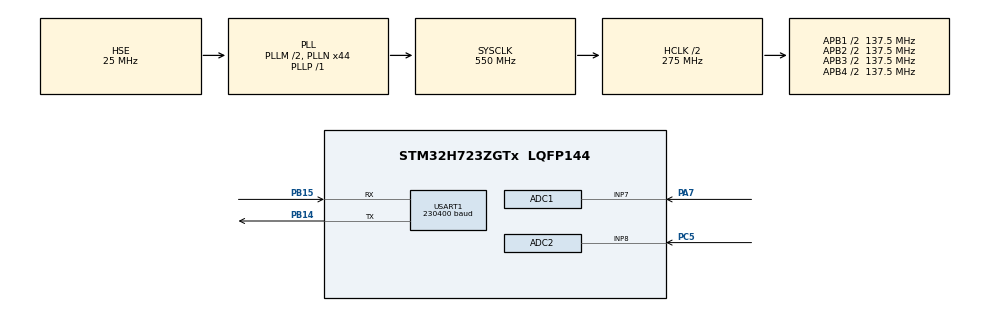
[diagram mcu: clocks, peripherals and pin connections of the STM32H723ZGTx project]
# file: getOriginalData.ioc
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ADC1.Channel-1\#ChannelRegularConversion=ADC_CHANNEL_7
ADC1.ClockPrescaler=ADC_CLOCK_ASYNC_DIV4
ADC1.ConversionDataManagement=ADC_CONVERSIONDATA_DMA_CIRCULAR
ADC1.DMAAccessModeView=ENABLE
ADC1.ExternalTrigConv=ADC_EXTERNALTRIG_T2_TRGO
ADC1.Mode=ADC_DUALMODE_REGSIMULT
ADC1.NbrOfConversion=1
ADC1.NbrOfConversionFlag=1
ADC1.OffsetNumber-1\#ChannelRegularConversion=ADC_OFFSET_NONE
ADC1.OffsetSignedSaturation-1\#ChannelRegularConversion=DISABLE
ADC1.Rank-1\#ChannelRegularConversion=1
ADC1.SamplingTime-1\#ChannelRegularConversion=ADC_SAMPLETIME_64CYCLES_5
ADC1.master=1
ADC2.Channel-0\#ChannelRegularConversion=ADC_CHANNEL_8
ADC2.ClockPrescaler=ADC_CLOCK_ASYNC_DIV4
ADC2.DMAAccessModeView=ENABLE
ADC2.Mode=ADC_DUALMODE_REGSIMULT
ADC2.NbrOfConversionFlag=1
ADC2.OffsetNumber-0\#ChannelRegularConversion=ADC_OFFSET_NONE
ADC2.OffsetSignedSaturation-0\#ChannelRegularConversion=DISABLE
ADC2.Rank-0\#ChannelRegularConversion=1
ADC2.SamplingTime-0\#ChannelRegularConversion=ADC_SAMPLETIME_64CYCLES_5
CORTEX_M7.default_mode_Activation=1
Dma.ADC1.0.Direction=DMA_PERIPH_TO_MEMORY
Dma.ADC1.0.EventEnable=DISABLE
Dma.ADC1.0.FIFOMode=DMA_FIFOMODE_DISABLE
Dma.ADC1.0.Instance=DMA1_Stream0
Dma.ADC1.0.MemDataAlignment=DMA_MDATAALIGN_WORD
Dma.ADC1.0.MemInc=DMA_MINC_ENABLE
Dma.ADC1.0.Mode=DMA_CIRCULAR
Dma.ADC1.0.PeriphDataAlignment=DMA_PDATAALIGN_WORD
Dma.ADC1.0.PeriphInc=DMA_PINC_DISABLE
Dma.ADC1.0.Polarity=HAL_DMAMUX_REQ_GEN_RISING
Dma.ADC1.0.Priority=DMA_PRIORITY_HIGH
Dma.ADC1.0.RequestNumber=1
Dma.ADC1.0.SignalID=NONE
Dma.ADC1.0.SyncEnable=DISABLE
Dma.ADC1.0.SyncPolarity=HAL_DMAMUX_SYNC_NO_EVENT
Dma.ADC1.0.SyncRequestNumber=1
Dma.ADC1.0.SyncSignalID=NONE
Dma.Request0=ADC1
Dma.Request1=USART1_TX
Dma.USART1_TX.1.Direction=DMA_MEMORY_TO_PERIPH
Dma.USART1_TX.1.EventEnable=DISABLE
Dma.USART1_TX.1.FIFOMode=DMA_FIFOMODE_DISABLE
Dma.USART1_TX.1.Instance=DMA1_Stream1
Dma.USART1_TX.1.MemDataAlignment=DMA_MDATAALIGN_BYTE
Dma.USART1_TX.1.MemInc=DMA_MINC_ENABLE
Dma.USART1_TX.1.Mode=DMA_NORMAL
Dma.USART1_TX.1.PeriphDataAlignment=DMA_PDATAALIGN_BYTE
Dma.USART1_TX.1.PeriphInc=DMA_PINC_DISABLE
Dma.USART1_TX.1.Polarity=HAL_DMAMUX_REQ_GEN_RISING
Dma.USART1_TX.1.Priority=DMA_PRIORITY_MEDIUM
Dma.USART1_TX.1.RequestNumber=1
Dma.USART1_TX.1.SignalID=NONE
Dma.USART1_TX.1.SyncEnable=DISABLE
Dma.USART1_TX.1.SyncPolarity=HAL_DMAMUX_SYNC_NO_EVENT
Dma.USART1_TX.1.SyncRequestNumber=1
Dma.USART1_TX.1.SyncSignalID=NONE
Mcu.Family=STM32H7
Mcu.Name=STM32H723ZGTx
Mcu.Package=LQFP144
NVIC.ADC_IRQn=true\:5\:0\:true\:false\:true\:true\:true\:true
NVIC.DMA1_Stream0_IRQn=true\:5\:0\:true\:false\:true\:false\:true\:true
NVIC.DMA1_Stream1_IRQn=true\:6\:0\:true\:false\:true\:false\:true\:true
NVIC.PriorityGroup=NVIC_PRIORITYGROUP_4
NVIC.USART1_IRQn=true\:6\:0\:true\:false\:true\:true\:true\:true
PA13(JTMS/SWDIO).Mode=Serial_Wire
PA13(JTMS/SWDIO).Signal=DEBUG_JTMS-SWDIO
PA14(JTCK/SWCLK).Mode=Serial_Wire
PA14(JTCK/SWCLK).Signal=DEBUG_JTCK-SWCLK
PA7.Signal=ADCx_INP7
PB14.Mode=Asynchronous
PB14.Signal=USART1_TX
PB15.Mode=Asynchronous
PB15.Signal=USART1_RX
PC5.Signal=ADCx_INP8
PH0-OSC_IN.Mode=HSE-External-Oscillator
PH0-OSC_IN.Signal=RCC_OSC_IN
PH1-OSC_OUT.Mode=HSE-External-Oscillator
PH1-OSC_OUT.Signal=RCC_OSC_OUT
ProjectManager.HeapSize=0x200
ProjectManager.StackSize=0x400
ProjectManager.TargetToolchain=MDK-ARM V5.32
RCC.ADCFreq_Value=100000000
RCC.APB1Freq_Value=137500000
RCC.APB2Freq_Value=137500000
RCC.APB3Freq_Value=137500000
RCC.APB4Freq_Value=137500000
RCC.CortexFreq_Value=550000000
RCC.D1PPRE=RCC_APB3_DIV2
RCC.D2PPRE1=RCC_APB1_DIV2
RCC.D2PPRE2=RCC_APB2_DIV2
RCC.D3PPRE=RCC_APB4_DIV2
RCC.DIVM1=2
RCC.DIVM2=2
RCC.DIVN1=44
RCC.DIVN2=16
RCC.DIVP1=1
RCC.HCLKFreq_Value=275000000
RCC.HPRE=RCC_HCLK_DIV2
RCC.HSE_VALUE=25000000
RCC.PLL2FRACN=0
RCC.PLLFRACN=0
RCC.PLLSourceVirtual=RCC_PLLSOURCE_HSE
RCC.SYSCLKFreq_VALUE=550000000
RCC.SYSCLKSource=RCC_SYSCLKSOURCE_PLLCLK
RCC.USBFreq_Value=275000000
SH.ADCx_INP7.0=ADC1_INP7,IN7-Single-Ended
SH.ADCx_INP8.0=ADC2_INP8,IN8-Single-Ended
TIM2.AutoReloadPreload=TIM_AUTORELOAD_PRELOAD_ENABLE
TIM2.Period=1000 - 1
TIM2.Prescaler=275 - 1
TIM2.TIM_MasterOutputTrigger=TIM_TRGO_UPDATE
TIM2.TIM_MasterSlaveMode=TIM_MASTERSLAVEMODE_DISABLE
USART1.BaudRate=230400
USART1.VirtualMode-Asynchronous=VM_ASYNC
VP_MEMORYMAP_VS_MEMORYMAP.Mode=CurAppReg
VP_TIM2_VS_ClockSourceINT.Mode=Internal
board=custom

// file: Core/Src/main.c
/* USER CODE BEGIN Header */
/**
  ******************************************************************************
  * @file           : main.c
  * @brief          : Main program body
  ******************************************************************************
  * @attention
  *
  * Copyright (c) 2026 STMicroelectronics.
  * All rights reserved.
  *
  * This software is licensed under terms that can be found in the LICENSE file
  * in the root directory of this software component.
  * If no LICENSE file comes with this software, it is provided AS-IS.
  *
  ******************************************************************************
  */
/* USER CODE END Header */
#include "main.h"
#include "adc.h"
#include "dma.h"
#include "tim.h"
#include "usart.h"
#include "gpio.h"

/* USER CODE BEGIN Includes */
#include "bsp_dual_adc.h"

/* USER CODE END Includes */

void SystemClock_Config(void);
void PeriphCommonClock_Config(void);
static void MPU_Config(void);

int main(void)
{

  /* USER CODE BEGIN 1 */

	/* 当前从BSP队列读出的完整数据块 */
	static DualADC_Block debug_block;

	/* 最近一个数据块的第一个采样编号 */
	volatile uint32_t debug_first_index = 0;

	/* 最近一次读取的ADC原始码值 */
	volatile uint16_t debug_ch7 = 0;
	volatile uint16_t debug_ch8 = 0;

	/* 采样统计 */
	volatile uint32_t debug_total_samples = 0;
	volatile uint32_t debug_dropped_samples = 0;

	/* ADC错误统计 */
	volatile uint32_t debug_adc_errors = 0;
	volatile uint32_t debug_adc_error_code = 0;

	/* 采集模块启动状态 */
	volatile uint32_t debug_start_error = 0;

  /* USER CODE END 1 */

  /* MPU Configuration--------------------------------------------------------*/
  MPU_Config();

  /* MCU Configuration--------------------------------------------------------*/

  /* Reset of all peripherals, Initializes the Flash interface and the Systick. */
  HAL_Init();

  /* Configure the system clock */
  SystemClock_Config();

  /* Configure the peripherals common clocks */
  PeriphCommonClock_Config();

  /* Initialize all configured peripherals */
  MX_GPIO_Init();
  MX_DMA_Init();
  MX_ADC1_Init();
  MX_ADC2_Init();
  MX_TIM2_Init();
  MX_USART1_UART_Init();
  /* USER CODE BEGIN 2 */

	/*1.启动ADC*/
	if (BSP_DualADC_Start() != HAL_OK)
	{
		debug_start_error = BSP_DualADC_GetStartError();

		Error_Handler();
	}

  /* USER CODE END 2 */

  /* Infinite loop */
  while (1)
  {

    /* USER CODE BEGIN 3 */
		if (BSP_DualADC_ReadBlock(&debug_block))
		{
				/* 取得当前数据块起始序号 */
				debug_first_index = debug_block.first_index;

				/* 提取第一个采样字中的两路ADC数据 */
				debug_ch7 = BSP_DualADC_GetCH7(debug_block.samples[0]);

				debug_ch8 = BSP_DualADC_GetCH8(debug_block.samples[0]);
		}

    /* 更新统计信息 */
    debug_total_samples =BSP_DualADC_GetSampleCount();

    debug_dropped_samples = BSP_DualADC_GetDroppedSamples();

    debug_adc_errors = BSP_DualADC_GetErrorCount();

    debug_adc_error_code = BSP_DualADC_GetLastError();

  }
  /* USER CODE END 3 */
}

void SystemClock_Config(void)
{
  RCC_OscInitTypeDef RCC_OscInitStruct = {0};
  RCC_ClkInitTypeDef RCC_ClkInitStruct = {0};

  /** Supply configuration update enable
  */
  HAL_PWREx_ConfigSupply(PWR_LDO_SUPPLY);

  /** Configure the main internal regulator output voltage
  */
  __HAL_PWR_VOLTAGESCALING_CONFIG(PWR_REGULATOR_VOLTAGE_SCALE0);

  while(!__HAL_PWR_GET_FLAG(PWR_FLAG_VOSRDY)) {}

  /** Initializes the RCC Oscillators according to the specified parameters
  * in the RCC_OscInitTypeDef structure.
  */
  RCC_OscInitStruct.OscillatorType = RCC_OSCILLATORTYPE_HSE;
  RCC_OscInitStruct.HSEState = RCC_HSE_ON;
  RCC_OscInitStruct.PLL.PLLState = RCC_PLL_ON;
  RCC_OscInitStruct.PLL.PLLSource = RCC_PLLSOURCE_HSE;
  RCC_OscInitStruct.PLL.PLLM = 2;
  RCC_OscInitStruct.PLL.PLLN = 44;
  RCC_OscInitStruct.PLL.PLLP = 1;
  RCC_OscInitStruct.PLL.PLLQ = 2;
  RCC_OscInitStruct.PLL.PLLR = 2;
  RCC_OscInitStruct.PLL.PLLRGE = RCC_PLL1VCIRANGE_3;
  RCC_OscInitStruct.PLL.PLLVCOSEL = RCC_PLL1VCOWIDE;
  RCC_OscInitStruct.PLL.PLLFRACN = 0;
  if (HAL_RCC_OscConfig(&RCC_OscInitStruct) != HAL_OK)
  {
    Error_Handler();
  }

  /** Initializes the CPU, AHB and APB buses clocks
  */
  RCC_ClkInitStruct.ClockType = RCC_CLOCKTYPE_HCLK|RCC_CLOCKTYPE_SYSCLK
                              |RCC_CLOCKTYPE_PCLK1|RCC_CLOCKTYPE_PCLK2
                              |RCC_CLOCKTYPE_D3PCLK1|RCC_CLOCKTYPE_D1PCLK1;
  RCC_ClkInitStruct.SYSCLKSource = RCC_SYSCLKSOURCE_PLLCLK;
  RCC_ClkInitStruct.SYSCLKDivider = RCC_SYSCLK_DIV1;
  RCC_ClkInitStruct.AHBCLKDivider = RCC_HCLK_DIV2;
  RCC_ClkInitStruct.APB3CLKDivider = RCC_APB3_DIV2;
  RCC_ClkInitStruct.APB1CLKDivider = RCC_APB1_DIV2;
  RCC_ClkInitStruct.APB2CLKDivider = RCC_APB2_DIV2;
  RCC_ClkInitStruct.APB4CLKDivider = RCC_APB4_DIV2;

  if (HAL_RCC_ClockConfig(&RCC_ClkInitStruct, FLASH_LATENCY_3) != HAL_OK)
  {
    Error_Handler();
  }
}

void PeriphCommonClock_Config(void)
{
  RCC_PeriphCLKInitTypeDef PeriphClkInitStruct = {0};

  /** Initializes the peripherals clock
  */
  PeriphClkInitStruct.PeriphClockSelection = RCC_PERIPHCLK_ADC;
  PeriphClkInitStruct.PLL2.PLL2M = 2;
  PeriphClkInitStruct.PLL2.PLL2N = 16;
  PeriphClkInitStruct.PLL2.PLL2P = 2;
  PeriphClkInitStruct.PLL2.PLL2Q = 2;
  PeriphClkInitStruct.PLL2.PLL2R = 2;
  PeriphClkInitStruct.PLL2.PLL2RGE = RCC_PLL2VCIRANGE_3;
  PeriphClkInitStruct.PLL2.PLL2VCOSEL = RCC_PLL2VCOWIDE;
  PeriphClkInitStruct.PLL2.PLL2FRACN = 0;
  PeriphClkInitStruct.AdcClockSelection = RCC_ADCCLKSOURCE_PLL2;
  if (HAL_RCCEx_PeriphCLKConfig(&PeriphClkInitStruct) != HAL_OK)
  {
    Error_Handler();
  }
}

 /* MPU Configuration */

void MPU_Config(void)
{
  MPU_Region_InitTypeDef MPU_InitStruct = {0};

  /* Disables the MPU */
  HAL_MPU_Disable();

  /** Initializes and configures the Region and the memory to be protected
  */
  MPU_InitStruct.Enable = MPU_REGION_ENABLE;
  MPU_InitStruct.Number = MPU_REGION_NUMBER0;
  MPU_InitStruct.BaseAddress = 0x0;
  MPU_InitStruct.Size = MPU_REGION_SIZE_4GB;
  MPU_InitStruct.SubRegionDisable = 0x87;
  MPU_InitStruct.TypeExtField = MPU_TEX_LEVEL0;
  MPU_InitStruct.AccessPermission = MPU_REGION_NO_ACCESS;
  MPU_InitStruct.DisableExec = MPU_INSTRUCTION_ACCESS_DISABLE;
  MPU_InitStruct.IsShareable = MPU_ACCESS_SHAREABLE;
  MPU_InitStruct.IsCacheable = MPU_ACCESS_NOT_CACHEABLE;
  MPU_InitStruct.IsBufferable = MPU_ACCESS_NOT_BUFFERABLE;

  HAL_MPU_ConfigRegion(&MPU_InitStruct);
  /* Enables the MPU */
  HAL_MPU_Enable(MPU_PRIVILEGED_DEFAULT);

}

void Error_Handler(void)
{
  __disable_irq();
  while (1)
  {
  }
}
